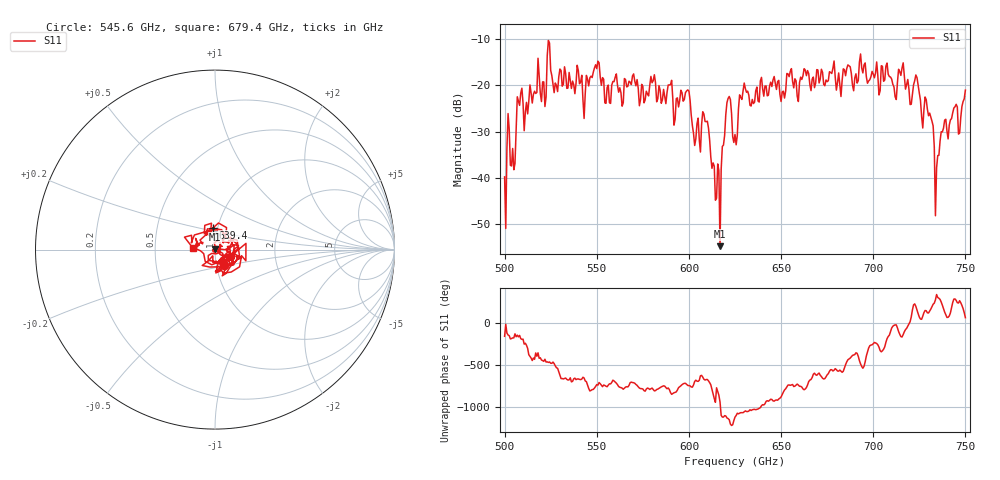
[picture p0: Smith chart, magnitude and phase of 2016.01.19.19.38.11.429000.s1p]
!Created with skrf (http://scikit-rf.org).
# GHz S RI R 50.0
!freq ReS11 ImS11
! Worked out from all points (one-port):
!   401 points, 500 GHz to 750 GHz, reference 50 ohm
!   lowest |S11| = -54.8 dB at 616.9 GHz (marker M1), VSWR 1.00, Z = 49.9 + j0.116 ohm
!   |S11| at or under -10 dB: start of sweep to end of sweep
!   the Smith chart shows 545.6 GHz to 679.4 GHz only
!   S11 on the Smith chart (normalised r, x): 545.6 GHz: 1.09, -0.19; 639.4 GHz: 0.95, +0.23; 679.4 GHz: 0.78, +0.01
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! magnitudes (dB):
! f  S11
! 500 GHz  -39.8
! 502.5 GHz  -29.5
! 504.4 GHz  -33.7
! 508.1 GHz  -24.3
! 521.2 GHz  -19.2
! 524.4 GHz  -10.9
! 527.5 GHz  -19.5
! 531.2 GHz  -20.2
! 545.6 GHz  -20.1
! 562.5 GHz  -20.5
! 593.8 GHz  -22.7
! 599.4 GHz  -21.0
! 603.1 GHz  -33.0
! 608.8 GHz  -27.8
! 615.6 GHz  -37.0
! 616.9 GHz  -54.8
! 621.2 GHz  -22.8
! 625 GHz  -30.6
! 628.8 GHz  -23.0
! 639.4 GHz  -18.3
! 656.2 GHz  -19.2
! 679.4 GHz  -18.2
! 687.5 GHz  -16.0
! 718.8 GHz  -18.7
! 729.4 GHz  -25.2
! 734.4 GHz  -37.9
! 738.1 GHz  -29.3
! 750 GHz  -21.0
